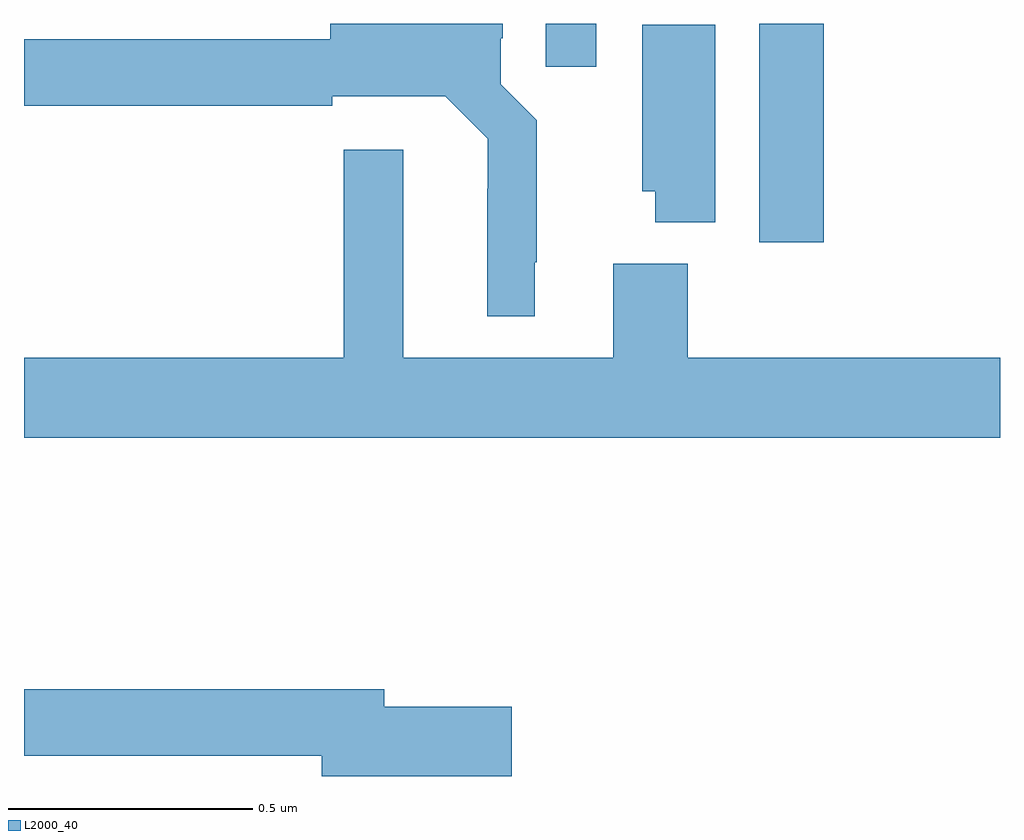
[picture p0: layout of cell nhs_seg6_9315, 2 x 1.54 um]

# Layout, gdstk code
import gdstk
lib = gdstk.Library(unit=1e-6, precision=1e-09)
def R(c, l, rs):  # rectangles x0, y0, x1, y1
    for r in rs: c.add(gdstk.rectangle(r[:2], r[2:], *l))
def P(c, l, *ps):  # polygons
    for p in ps: c.add(gdstk.Polygon(p, *l))
L2000_40 = (2000, 40)

nhs_seg6_9315 = lib.new_cell('nhs_seg6_9315')
R(nhs_seg6_9315, L2000_40, [(233.507,965.052,233.639,965.5), (233.069,965.412,233.173,965.5)])
P(nhs_seg6_9315, L2000_40, [(233.047,965.011),(233.051,965.011),(233.051,965.302),(232.977,965.376),(232.977,965.47),(232.981,965.47),(232.981,965.5),(232.628,965.5),(232.628,965.468),(232,965.468),(232,965.332),(232.632,965.332),(232.632,965.351),(232.863,965.351),(232.95,965.264),(232.95,965.162),(232.949,965.162),(232.949,964.901),(233.047,964.901)],
  [(233.416,965.498),(233.267,965.498),(233.267,965.157),(233.294,965.157),(233.294,965.093),(233.416,965.093)],
  [(234,964.816),(233.36,964.816),(233.36,965.008),(233.207,965.008),(233.207,964.816),(232.777,964.816),(232.777,965.242),(232.655,965.242),(232.655,964.816),(232,964.816),(232,964.652),(234,964.652)],
  [(232.999,964.1),(232.738,964.1),(232.738,964.136),(232,964.136),(232,964),(232.61,964),(232.61,963.958),(232.999,963.958)])

lib.write_gds('nhs_seg6_9315.gds')
